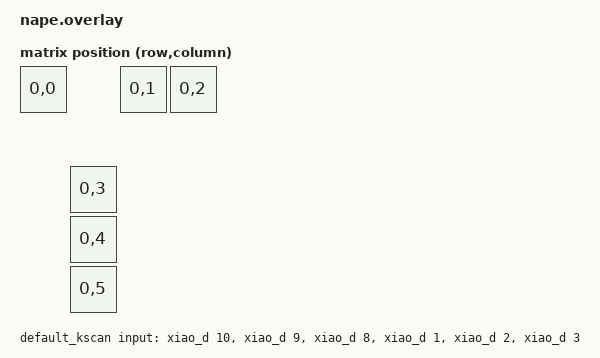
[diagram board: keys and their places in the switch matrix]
#include <dt-bindings/zmk/matrix_transform.h>
#include <physical_layouts.dtsi>
#include <dt-bindings/input/input-event-codes.h>

/ {
    // LED aliases required by zmk-rgbled-widget.
    // The xiao_ble board defines led0/led1/led2 but the rgbled_adapter shield
    // only ships a seeeduino_xiao_ble.overlay, not xiao_ble.overlay, so we
    // provide the aliases here directly.
    aliases {
        led-red = &led0;
        led-green = &led1;
        led-blue = &led2;
    };

    leds {
        status = "okay";
    };

    chosen {
        zmk,kscan = &default_kscan;
        zmk,physical-layout = &physical_layout0;
    };

    default_kscan: kscan {
        compatible = "zmk,kscan-gpio-direct";
        label = "default_kscan";

        input-gpios =
            <&xiao_d 10 (GPIO_PULL_UP | GPIO_ACTIVE_LOW)>,  // 表面 左キー
            <&xiao_d 9  (GPIO_PULL_UP | GPIO_ACTIVE_LOW)>,  // 表面 中央キー
            <&xiao_d 8  (GPIO_PULL_UP | GPIO_ACTIVE_LOW)>,  // 表面 右キー
            <&xiao_d 1  (GPIO_PULL_UP | GPIO_ACTIVE_LOW)>,  // 裏面 上スイッチ
            <&xiao_d 2  (GPIO_PULL_UP | GPIO_ACTIVE_LOW)>,  // 裏面 中央スイッチ
            <&xiao_d 3  (GPIO_PULL_UP | GPIO_ACTIVE_LOW)>;  // 裏面 下スイッチ
    };

    physical_layout0: physical_layout_0 {
        compatible = "zmk,physical-layout";
        display-name = "Nape Physical Layout";
        kscan = <&default_kscan>;
        transform = <&default_transform>;

        keys =
            <&key_physical_attrs 100 100   0    100   0 0 0>,  // 表面 左キー (1U)
            <&key_physical_attrs 100 100 200    100   0 0 0>,  // 表面 中央キー (1U)
            <&key_physical_attrs 100 100 300    100   0 0 0>,  // 表面 右キー (1U)
            <&key_physical_attrs 100 100   100  300   0 0 0>,  // 裏面 上スイッチ (1U)
            <&key_physical_attrs 100 100   100  400   0 0 0>,  // 裏面 中央スイッチ (1U)
            <&key_physical_attrs 100 100   100  500   0 0 0>;  // 裏面 下スイッチ (1U)
    };

    default_transform: keymap_transform0 {
        compatible = "zmk,matrix-transform";
        rows = <1>;
        columns = <6>;
        map = <
            RC(0,0) RC(0,1) RC(0,2) RC(0,3) RC(0,4) RC(0,5)
        >;
    };

    trackball_listener {
        compatible = "zmk,input-listener";
        device = <&trackball>;
        scroller {
            layers = <10>;
            input-processors = <&zip_xy_to_scroll_mapper>;
        };
    };
};

&pinctrl {
    spi0_default: spi0_default {
        group1 {
            psels = <NRF_PSEL(SPIM_SCK, 0, 5)>,  // SCLK
                   <NRF_PSEL(SPIM_MOSI, 0, 4)>,  // SDIO
                   <NRF_PSEL(SPIM_MISO, 0, 4)>;  // SDIO
        };
    };

    spi0_sleep: spi0_sleep {
        group1 {
            psels = <NRF_PSEL(SPIM_SCK, 0, 5)>,  // SCLK
                   <NRF_PSEL(SPIM_MOSI, 0, 4)>,  // SDIO
                   <NRF_PSEL(SPIM_MISO, 0, 4)>;  // SDIO
            low-power-enable;
        };
    };
};

&xiao_serial { status = "disabled"; };

&spi0 {
    status = "okay";
    compatible = "nordic,nrf-spim";
    pinctrl-0 = <&spi0_default>;
    pinctrl-1 = <&spi0_sleep>;
    pinctrl-names = "default", "sleep";
    cs-gpios = <&xiao_d 6 (GPIO_ACTIVE_LOW | GPIO_PULL_UP)>;

    trackball: trackball@0 {
        status = "okay";
        compatible = "pixart,pmw3610-alt";
        reg = <0>;
        spi-max-frequency = <2000000>;
        irq-gpios = <&xiao_d 0 (GPIO_ACTIVE_LOW | GPIO_PULL_UP)>;

        // CPI settings: cpi for normal MOVE mode, snipe-cpi for precision mode
        cpi = <800>;
        // snipe-cpi = <200>;  // Uncomment and add snipe-layers to enable snipe mode

        // Axis: no hardware inversion here.
        // X axis inversion is applied in software after rotation via CONFIG_PMW3610_ALT_INVERT_X.
        // swap-xy;    // Uncomment to swap X/Y at hardware level (pre-rotation)
        // invert-x;   // Uncomment for hardware-level X inversion (pre-rotation)
        // invert-y;   // Uncomment for hardware-level Y inversion (pre-rotation)

        // Input event type/codes for mouse pointer movement
        evt-type = <INPUT_EV_REL>;
        x-input-code = <INPUT_REL_X>;
        y-input-code = <INPUT_REL_Y>;

        // Layer 10 is the scroll layer (handled by trackball_listener above).
        // Listing it here prevents the orientation layer from updating during scroll.
        scroll-layers = <10>;

        // Snipe layers: uncomment and fill in layer numbers to enable snipe mode
        // snipe-layers = <11>;

        // Default orientation layer at boot (0 = 0°, 1 = 45°, ... 7 = 315°)
        default-orientation-layer = <0>;
    };
};
